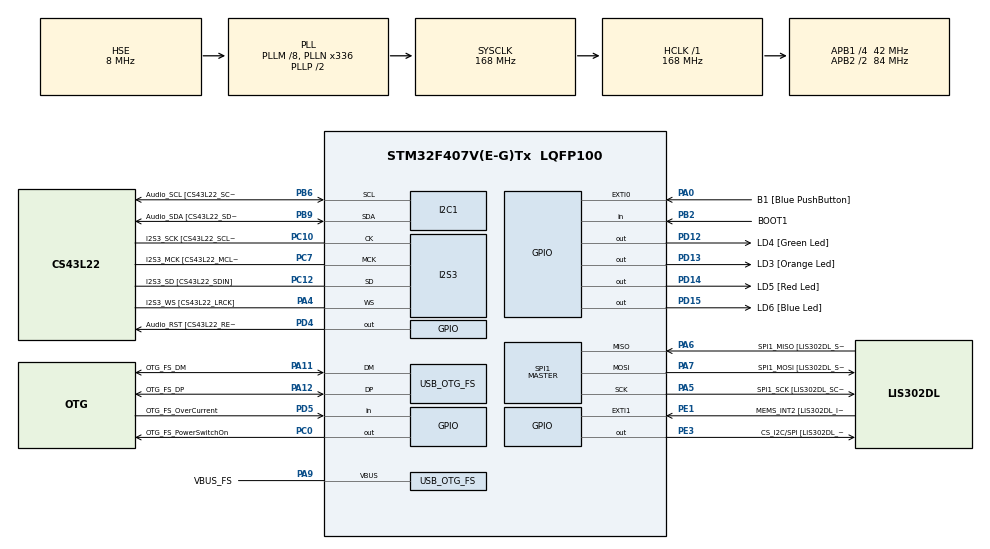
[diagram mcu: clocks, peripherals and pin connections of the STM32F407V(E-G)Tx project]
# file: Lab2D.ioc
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I2S3.AudioFreq-Half_Duplex_Master=I2S_AUDIOFREQ_96K
I2S3.ErrorAudioFreq=-2.34 %
I2S3.ErrorAudioFreq-Half_Duplex_Master=0.8 %
I2S3.FullDuplexMode=I2S_FULLDUPLEXMODE_DISABLE
I2S3.Instance=SPI$Index
I2S3.RealAudioFreq=93.75 KHz
I2S3.RealAudioFreq-Half_Duplex_Master=96.774 KHz
I2S3.VirtualMode=I2S_MODE_MASTER
Mcu.Family=STM32F4
Mcu.Name=STM32F407V(E-G)Tx
Mcu.Package=LQFP100
NVIC.OTG_FS_IRQn=true\:0\:0\:false\:false\:true\:true\:true\:true
NVIC.PriorityGroup=NVIC_PRIORITYGROUP_0
PA0-WKUP.GPIO_Label=B1 [Blue PushButton]
PA0-WKUP.GPIO_ModeDefaultEXTI=GPIO_MODE_EVT_RISING
PA0-WKUP.GPIO_PuPd=GPIO_NOPULL
PA0-WKUP.Signal=GPXTI0
PA10.GPIO_Label=OTG_FS_ID
PA10.GPIO_Mode=GPIO_MODE_AF_PP
PA10.GPIO_PuPd=GPIO_NOPULL
PA10.GPIO_Speed=GPIO_SPEED_FREQ_LOW
PA10.Signal=USB_OTG_FS_ID
PA11.GPIO_Label=OTG_FS_DM
PA11.GPIO_Mode=GPIO_MODE_AF_PP
PA11.GPIO_PuPd=GPIO_NOPULL
PA11.GPIO_Speed=GPIO_SPEED_FREQ_LOW
PA11.Mode=Host_Only
PA11.Signal=USB_OTG_FS_DM
PA12.GPIO_Label=OTG_FS_DP
PA12.GPIO_Mode=GPIO_MODE_AF_PP
PA12.GPIO_PuPd=GPIO_NOPULL
PA12.GPIO_Speed=GPIO_SPEED_FREQ_LOW
PA12.Mode=Host_Only
PA12.Signal=USB_OTG_FS_DP
PA13.GPIO_Label=SWDIO
PA13.Mode=Serial_Wire
PA13.Signal=SYS_JTMS-SWDIO
PA14.GPIO_Label=SWCLK
PA14.Mode=Serial_Wire
PA14.Signal=SYS_JTCK-SWCLK
PA4.GPIO_Label=I2S3_WS [CS43L22_LRCK]
PA4.GPIO_Mode=GPIO_MODE_AF_PP
PA4.GPIO_PuPd=GPIO_NOPULL
PA4.GPIO_Speed=GPIO_SPEED_FREQ_LOW
PA4.Mode=Half_Duplex_Master
PA4.Signal=I2S3_WS
PA5.GPIO_Label=SPI1_SCK [LIS302DL_SCL/SPC]
PA5.GPIO_Mode=GPIO_MODE_AF_PP
PA5.GPIO_PuPd=GPIO_NOPULL
PA5.GPIO_Speed=GPIO_SPEED_FREQ_LOW
PA5.Mode=Full_Duplex_Master
PA5.Signal=SPI1_SCK
PA6.GPIO_Label=SPI1_MISO [LIS302DL_SDO]
PA6.GPIO_Mode=GPIO_MODE_AF_PP
PA6.GPIO_PuPd=GPIO_NOPULL
PA6.GPIO_Speed=GPIO_SPEED_FREQ_LOW
PA6.Mode=Full_Duplex_Master
PA6.Signal=SPI1_MISO
PA7.GPIO_Label=SPI1_MOSI [LIS302DL_SDA/SDI/SDO]
PA7.GPIO_Mode=GPIO_MODE_AF_PP
PA7.GPIO_PuPd=GPIO_NOPULL
PA7.GPIO_Speed=GPIO_SPEED_FREQ_LOW
PA7.Mode=Full_Duplex_Master
PA7.Signal=SPI1_MOSI
PA9.GPIO_Label=VBUS_FS
PA9.GPIO_Mode=GPIO_MODE_INPUT
PA9.GPIO_PuPd=GPIO_NOPULL
PA9.Mode=Activate_VBUS
PA9.Signal=USB_OTG_FS_VBUS
PB10.GPIO_Label=CLK_IN [MP45DT02_CLK]
PB10.GPIO_Mode=GPIO_MODE_AF_PP
PB10.GPIO_PuPd=GPIO_NOPULL
PB10.GPIO_Speed=GPIO_SPEED_FREQ_LOW
PB10.Signal=I2S2_CK
PB2.GPIO_Label=BOOT1
PB2.GPIO_Mode=GPIO_MODE_INPUT
PB2.GPIO_PuPd=GPIO_NOPULL
PB2.Signal=GPIO_Input
PB3.GPIO_Label=SWO
PB3.Signal=SYS_JTDO-SWO
PB6.GPIO_Label=Audio_SCL [CS43L22_SCL]
PB6.GPIO_Mode=GPIO_MODE_AF_OD
PB6.GPIO_Pu=GPIO_PULLUP
PB6.GPIO_PuPd=GPIO_NOPULL
PB6.GPIO_Speed=GPIO_SPEED_FREQ_LOW
PB6.Mode=I2C
PB6.Signal=I2C1_SCL
PB9.GPIO_Label=Audio_SDA [CS43L22_SDA]
PB9.GPIO_Mode=GPIO_MODE_AF_OD
PB9.GPIO_Pu=GPIO_PULLUP
PB9.GPIO_PuPd=GPIO_NOPULL
PB9.GPIO_Speed=GPIO_SPEED_FREQ_LOW
PB9.Mode=I2C
PB9.Signal=I2C1_SDA
PC0.GPIO_Label=OTG_FS_PowerSwitchOn
PC0.GPIO_PuPd=GPIO_NOPULL
PC0.GPIO_Speed=GPIO_SPEED_FREQ_LOW
PC0.PinState=GPIO_PIN_SET
PC0.Signal=GPIO_Output
PC10.GPIO_Label=I2S3_SCK [CS43L22_SCLK]
PC10.GPIO_Mode=GPIO_MODE_AF_PP
PC10.GPIO_PuPd=GPIO_NOPULL
PC10.GPIO_Speed=GPIO_SPEED_FREQ_LOW
PC10.Mode=Half_Duplex_Master
PC10.Signal=I2S3_CK
PC12.GPIO_Label=I2S3_SD [CS43L22_SDIN]
PC12.GPIO_Mode=GPIO_MODE_AF_PP
PC12.GPIO_PuPd=GPIO_NOPULL
PC12.GPIO_Speed=GPIO_SPEED_FREQ_LOW
PC12.Mode=Half_Duplex_Master
PC12.Signal=I2S3_SD
PC14-OSC32_IN.GPIO_Label=PC14-OSC32_IN
PC14-OSC32_IN.Mode=LSE-External-Oscillator
PC14-OSC32_IN.Signal=RCC_OSC32_IN
PC15-OSC32_OUT.GPIO_Label=PC15-OSC32_OUT
PC15-OSC32_OUT.Mode=LSE-External-Oscillator
PC15-OSC32_OUT.Signal=RCC_OSC32_OUT
PC3.GPIO_Label=PDM_OUT [MP45DT02_DOUT]
PC3.GPIO_Mode=GPIO_MODE_AF_PP
PC3.GPIO_PuPd=GPIO_NOPULL
PC3.GPIO_Speed=GPIO_SPEED_FREQ_LOW
PC3.Signal=I2S2_SD
PC7.GPIO_Label=I2S3_MCK [CS43L22_MCLK]
PC7.GPIO_Mode=GPIO_MODE_AF_PP
PC7.GPIO_PuPd=GPIO_NOPULL
PC7.GPIO_Speed=GPIO_SPEED_FREQ_LOW
PC7.Mode=Master_Clock_Activated
PC7.Signal=I2S3_MCK
PD12.GPIO_Label=LD4 [Green Led]
PD12.GPIO_PuPd=GPIO_NOPULL
PD12.GPIO_Speed=GPIO_SPEED_FREQ_LOW
PD12.Signal=GPIO_Output
PD13.GPIO_Label=LD3 [Orange Led]
PD13.GPIO_PuPd=GPIO_NOPULL
PD13.GPIO_Speed=GPIO_SPEED_FREQ_LOW
PD13.Signal=GPIO_Output
PD14.GPIO_Label=LD5 [Red Led]
PD14.GPIO_PuPd=GPIO_NOPULL
PD14.GPIO_Speed=GPIO_SPEED_FREQ_LOW
PD14.Signal=GPIO_Output
PD15.GPIO_Label=LD6 [Blue Led]
PD15.GPIO_PuPd=GPIO_NOPULL
PD15.GPIO_Speed=GPIO_SPEED_FREQ_LOW
PD15.Signal=GPIO_Output
PD4.GPIO_Label=Audio_RST [CS43L22_RESET]
PD4.GPIO_PuPd=GPIO_NOPULL
PD4.GPIO_Speed=GPIO_SPEED_FREQ_LOW
PD4.Signal=GPIO_Output
PD5.GPIO_Label=OTG_FS_OverCurrent
PD5.GPIO_Mode=GPIO_MODE_INPUT
PD5.GPIO_PuPd=GPIO_NOPULL
PD5.Signal=GPIO_Input
PE1.GPIO_Label=MEMS_INT2 [LIS302DL_INT2]
PE1.GPIO_ModeDefaultEXTI=GPIO_MODE_EVT_RISING
PE1.GPIO_PuPd=GPIO_NOPULL
PE1.Signal=GPXTI1
PE3.GPIO_Label=CS_I2C/SPI [LIS302DL_CS_I2C/SPI]
PE3.GPIO_PuPd=GPIO_NOPULL
PE3.GPIO_Speed=GPIO_SPEED_FREQ_LOW
PE3.Signal=GPIO_Output
PH0-OSC_IN.GPIO_Label=PH0-OSC_IN
PH0-OSC_IN.Mode=HSE-External-Oscillator
PH0-OSC_IN.Signal=RCC_OSC_IN
PH1-OSC_OUT.GPIO_Label=PH1-OSC_OUT
PH1-OSC_OUT.Mode=HSE-External-Oscillator
PH1-OSC_OUT.Signal=RCC_OSC_OUT
ProjectManager.HeapSize=0x200
ProjectManager.StackSize=0x400
ProjectManager.TargetToolchain=STM32CubeIDE
RCC.48MHZClocksFreq_Value=48000000
RCC.AHBFreq_Value=168000000
RCC.APB1CLKDivider=RCC_HCLK_DIV4
RCC.APB1Freq_Value=42000000
RCC.APB1TimFreq_Value=84000000
RCC.APB2CLKDivider=RCC_HCLK_DIV2
RCC.APB2Freq_Value=84000000
RCC.APB2TimFreq_Value=168000000
RCC.CortexFreq_Value=168000000
RCC.HCLKFreq_Value=168000000
RCC.HSE_VALUE=8000000
RCC.HSI_VALUE=16000000
RCC.PLLM=8
RCC.PLLN=336
RCC.PLLQ=7
RCC.SYSCLKFreq_VALUE=168000000
RCC.SYSCLKSource=RCC_SYSCLKSOURCE_PLLCLK
RCC.VCOOutputFreq_Value=336000000
SPI1.BaudRatePrescaler-Full_Duplex_Master=SPI_BAUDRATEPRESCALER_2
SPI1.CalculateBaudRate-Full_Duplex_Master=42.0 MBits/s
SPI1.Direction=SPI_DIRECTION_2LINES
SPI1.Mode=SPI_MODE_MASTER
SPI1.Mode-Full_Duplex_Master=SPI_MODE_MASTER
SPI1.VirtualType=VM_MASTER
USB_HOST.BSP.number=1
USB_HOST.USBH_HandleTypeDef-CDC_FS=hUsbHostFS
USB_HOST.VirtualModeFS=Cdc
USB_HOST0.BSP.STBoard=false
USB_HOST0.BSP.api=Unknown
USB_HOST0.BSP.instance=PC0
USB_HOST0.BSP.ip=GPIO
USB_HOST0.BSP.mode=Output
USB_HOST0.BSP.name=Drive_VBUS_FS
USB_HOST0.BSP.solution=PC0
USB_OTG_FS.VirtualMode=Host_Only
USB_OTG_FS.phy_itface=HCD_PHY_EMBEDDED
VP_USB_HOST_VS_USB_HOST_CDC_FS.Mode=CDC_FS
board=STM32F407G-DISC1

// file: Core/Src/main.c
/* USER CODE BEGIN Header */
/**
  ******************************************************************************
  * @file           : main.c
  * @brief          : Main program body
  ******************************************************************************
  * @attention
  *
  * Copyright (c) 2026 STMicroelectronics.
  * All rights reserved.
  *
  * This software is licensed under terms that can be found in the LICENSE file
  * in the root directory of this software component.
  * If no LICENSE file comes with this software, it is provided AS-IS.
  *
  ******************************************************************************
  */
/* USER CODE END Header */
#include "main.h"
#include "usb_host.h"

I2C_HandleTypeDef hi2c1;

I2S_HandleTypeDef hi2s3;

SPI_HandleTypeDef hspi1;

void SystemClock_Config(void);
static void MX_GPIO_Init(void);
static void MX_I2C1_Init(void);
static void MX_I2S3_Init(void);
static void MX_SPI1_Init(void);
void MX_USB_HOST_Process(void);

int main(void)
{

  /* MCU Configuration--------------------------------------------------------*/

  /* Reset of all peripherals, Initializes the Flash interface and the Systick. */
  HAL_Init();

  /* Configure the system clock */
  SystemClock_Config();

  /* Initialize all configured peripherals */
  MX_GPIO_Init();
  MX_I2C1_Init();
  MX_I2S3_Init();
  MX_SPI1_Init();
  MX_USB_HOST_Init();

  /* Infinite loop */
  while (1)
  {
    MX_USB_HOST_Process();

    /* USER CODE BEGIN 3 */
    // Вмикаємо всі алгоритми по черзі. Кожен працює рівно 3 секунди.

    // Алгоритм 1: Всі світлодіоди блимають разом (3 секунди)
    // (500мс увімкнено + 500мс вимкнено = 1 сек. Повторюємо 3 рази)
    for(int i = 0; i < 3; i++) {
        HAL_GPIO_WritePin(GPIOD, GPIO_PIN_12 | GPIO_PIN_13 | GPIO_PIN_14 | GPIO_PIN_15, GPIO_PIN_SET);
        HAL_Delay(500);
        HAL_GPIO_WritePin(GPIOD, GPIO_PIN_12 | GPIO_PIN_13 | GPIO_PIN_14 | GPIO_PIN_15, GPIO_PIN_RESET);
        HAL_Delay(500);
    }

    // Алгоритм 2: "Вогник", що біжить по колу (3 секунди)
    // (4 кроки по 250мс = 1 сек. Повторюємо 3 рази)
    for(int i = 0; i < 3; i++) {
        HAL_GPIO_WritePin(GPIOD, GPIO_PIN_12, GPIO_PIN_SET);
        HAL_GPIO_WritePin(GPIOD, GPIO_PIN_15, GPIO_PIN_RESET);
        HAL_Delay(250);

        HAL_GPIO_WritePin(GPIOD, GPIO_PIN_13, GPIO_PIN_SET);
        HAL_GPIO_WritePin(GPIOD, GPIO_PIN_12, GPIO_PIN_RESET);
        HAL_Delay(250);

        HAL_GPIO_WritePin(GPIOD, GPIO_PIN_14, GPIO_PIN_SET);
        HAL_GPIO_WritePin(GPIOD, GPIO_PIN_13, GPIO_PIN_RESET);
        HAL_Delay(250);

        HAL_GPIO_WritePin(GPIOD, GPIO_PIN_15, GPIO_PIN_SET);
        HAL_GPIO_WritePin(GPIOD, GPIO_PIN_14, GPIO_PIN_RESET);
        HAL_Delay(250);
    }

    // Алгоритм 3: Поліцейська мигалка (навхрест, 3 секунди)
    // (250мс одна пара + 250мс інша пара = 500мс. Повторюємо 6 разів)
    for(int i = 0; i < 6; i++) {
        HAL_GPIO_WritePin(GPIOD, GPIO_PIN_12 | GPIO_PIN_14, GPIO_PIN_SET);
        HAL_GPIO_WritePin(GPIOD, GPIO_PIN_13 | GPIO_PIN_15, GPIO_PIN_RESET);
        HAL_Delay(250);

        HAL_GPIO_WritePin(GPIOD, GPIO_PIN_13 | GPIO_PIN_15, GPIO_PIN_SET);
        HAL_GPIO_WritePin(GPIOD, GPIO_PIN_12 | GPIO_PIN_14, GPIO_PIN_RESET);
        HAL_Delay(250);
    }

    // Алгоритм 4: Поступове заповнення шкали (3 секунди)
    // (5 кроків по 200мс = 1 сек. Повторюємо 3 рази)
    for(int i = 0; i < 3; i++) {
        HAL_GPIO_WritePin(GPIOD, GPIO_PIN_12 | GPIO_PIN_13 | GPIO_PIN_14 | GPIO_PIN_15, GPIO_PIN_RESET);
        HAL_Delay(200);
        HAL_GPIO_WritePin(GPIOD, GPIO_PIN_12, GPIO_PIN_SET);
        HAL_Delay(200);
        HAL_GPIO_WritePin(GPIOD, GPIO_PIN_13, GPIO_PIN_SET);
        HAL_Delay(200);
        HAL_GPIO_WritePin(GPIOD, GPIO_PIN_14, GPIO_PIN_SET);
        HAL_Delay(200);
        HAL_GPIO_WritePin(GPIOD, GPIO_PIN_15, GPIO_PIN_SET);
        HAL_Delay(200);
    }
  }
  /* USER CODE END 3 */
}

void SystemClock_Config(void)
{
  RCC_OscInitTypeDef RCC_OscInitStruct = {0};
  RCC_ClkInitTypeDef RCC_ClkInitStruct = {0};

  /** Configure the main internal regulator output voltage
  */
  __HAL_RCC_PWR_CLK_ENABLE();
  __HAL_PWR_VOLTAGESCALING_CONFIG(PWR_REGULATOR_VOLTAGE_SCALE1);

  /** Initializes the RCC Oscillators according to the specified parameters
  * in the RCC_OscInitTypeDef structure.
  */
  RCC_OscInitStruct.OscillatorType = RCC_OSCILLATORTYPE_HSE;
  RCC_OscInitStruct.HSEState = RCC_HSE_ON;
  RCC_OscInitStruct.PLL.PLLState = RCC_PLL_ON;
  RCC_OscInitStruct.PLL.PLLSource = RCC_PLLSOURCE_HSE;
  RCC_OscInitStruct.PLL.PLLM = 8;
  RCC_OscInitStruct.PLL.PLLN = 336;
  RCC_OscInitStruct.PLL.PLLP = RCC_PLLP_DIV2;
  RCC_OscInitStruct.PLL.PLLQ = 7;
  if (HAL_RCC_OscConfig(&RCC_OscInitStruct) != HAL_OK)
  {
    Error_Handler();
  }

  /** Initializes the CPU, AHB and APB buses clocks
  */
  RCC_ClkInitStruct.ClockType = RCC_CLOCKTYPE_HCLK|RCC_CLOCKTYPE_SYSCLK
                              |RCC_CLOCKTYPE_PCLK1|RCC_CLOCKTYPE_PCLK2;
  RCC_ClkInitStruct.SYSCLKSource = RCC_SYSCLKSOURCE_PLLCLK;
  RCC_ClkInitStruct.AHBCLKDivider = RCC_SYSCLK_DIV1;
  RCC_ClkInitStruct.APB1CLKDivider = RCC_HCLK_DIV4;
  RCC_ClkInitStruct.APB2CLKDivider = RCC_HCLK_DIV2;

  if (HAL_RCC_ClockConfig(&RCC_ClkInitStruct, FLASH_LATENCY_5) != HAL_OK)
  {
    Error_Handler();
  }
}

static void MX_I2C1_Init(void)
{

  hi2c1.Instance = I2C1;
  hi2c1.Init.ClockSpeed = 100000;
  hi2c1.Init.DutyCycle = I2C_DUTYCYCLE_2;
  hi2c1.Init.OwnAddress1 = 0;
  hi2c1.Init.AddressingMode = I2C_ADDRESSINGMODE_7BIT;
  hi2c1.Init.DualAddressMode = I2C_DUALADDRESS_DISABLE;
  hi2c1.Init.OwnAddress2 = 0;
  hi2c1.Init.GeneralCallMode = I2C_GENERALCALL_DISABLE;
  hi2c1.Init.NoStretchMode = I2C_NOSTRETCH_DISABLE;
  if (HAL_I2C_Init(&hi2c1) != HAL_OK)
  {
    Error_Handler();
  }

}

static void MX_I2S3_Init(void)
{

  hi2s3.Instance = SPI3;
  hi2s3.Init.Mode = I2S_MODE_MASTER_TX;
  hi2s3.Init.Standard = I2S_STANDARD_PHILIPS;
  hi2s3.Init.DataFormat = I2S_DATAFORMAT_16B;
  hi2s3.Init.MCLKOutput = I2S_MCLKOUTPUT_ENABLE;
  hi2s3.Init.AudioFreq = I2S_AUDIOFREQ_96K;
  hi2s3.Init.CPOL = I2S_CPOL_LOW;
  hi2s3.Init.ClockSource = I2S_CLOCK_PLL;
  hi2s3.Init.FullDuplexMode = I2S_FULLDUPLEXMODE_DISABLE;
  if (HAL_I2S_Init(&hi2s3) != HAL_OK)
  {
    Error_Handler();
  }

}

static void MX_SPI1_Init(void)
{

  /* SPI1 parameter configuration*/
  hspi1.Instance = SPI1;
  hspi1.Init.Mode = SPI_MODE_MASTER;
  hspi1.Init.Direction = SPI_DIRECTION_2LINES;
  hspi1.Init.DataSize = SPI_DATASIZE_8BIT;
  hspi1.Init.CLKPolarity = SPI_POLARITY_LOW;
  hspi1.Init.CLKPhase = SPI_PHASE_1EDGE;
  hspi1.Init.NSS = SPI_NSS_SOFT;
  hspi1.Init.BaudRatePrescaler = SPI_BAUDRATEPRESCALER_2;
  hspi1.Init.FirstBit = SPI_FIRSTBIT_MSB;
  hspi1.Init.TIMode = SPI_TIMODE_DISABLE;
  hspi1.Init.CRCCalculation = SPI_CRCCALCULATION_DISABLE;
  hspi1.Init.CRCPolynomial = 10;
  if (HAL_SPI_Init(&hspi1) != HAL_OK)
  {
    Error_Handler();
  }

}

static void MX_GPIO_Init(void)
{
  GPIO_InitTypeDef GPIO_InitStruct = {0};

  /* GPIO Ports Clock Enable */
  __HAL_RCC_GPIOE_CLK_ENABLE();
  __HAL_RCC_GPIOC_CLK_ENABLE();
  __HAL_RCC_GPIOH_CLK_ENABLE();
  __HAL_RCC_GPIOA_CLK_ENABLE();
  __HAL_RCC_GPIOB_CLK_ENABLE();
  __HAL_RCC_GPIOD_CLK_ENABLE();

  /*Configure GPIO pin Output Level */
  HAL_GPIO_WritePin(CS_I2C_SPI_GPIO_Port, CS_I2C_SPI_Pin, GPIO_PIN_RESET);

  /*Configure GPIO pin Output Level */
  HAL_GPIO_WritePin(OTG_FS_PowerSwitchOn_GPIO_Port, OTG_FS_PowerSwitchOn_Pin, GPIO_PIN_SET);

  /*Configure GPIO pin Output Level */
  HAL_GPIO_WritePin(GPIOD, LD4_Pin|LD3_Pin|LD5_Pin|LD6_Pin
                          |Audio_RST_Pin, GPIO_PIN_RESET);

  /*Configure GPIO pin : CS_I2C_SPI_Pin */
  GPIO_InitStruct.Pin = CS_I2C_SPI_Pin;
  GPIO_InitStruct.Mode = GPIO_MODE_OUTPUT_PP;
  GPIO_InitStruct.Pull = GPIO_NOPULL;
  GPIO_InitStruct.Speed = GPIO_SPEED_FREQ_LOW;
  HAL_GPIO_Init(CS_I2C_SPI_GPIO_Port, &GPIO_InitStruct);

  /*Configure GPIO pin : OTG_FS_PowerSwitchOn_Pin */
  GPIO_InitStruct.Pin = OTG_FS_PowerSwitchOn_Pin;
  GPIO_InitStruct.Mode = GPIO_MODE_OUTPUT_PP;
  GPIO_InitStruct.Pull = GPIO_NOPULL;
  GPIO_InitStruct.Speed = GPIO_SPEED_FREQ_LOW;
  HAL_GPIO_Init(OTG_FS_PowerSwitchOn_GPIO_Port, &GPIO_InitStruct);

  /*Configure GPIO pin : PDM_OUT_Pin */
  GPIO_InitStruct.Pin = PDM_OUT_Pin;
  GPIO_InitStruct.Mode = GPIO_MODE_AF_PP;
  GPIO_InitStruct.Pull = GPIO_NOPULL;
  GPIO_InitStruct.Speed = GPIO_SPEED_FREQ_LOW;
  GPIO_InitStruct.Alternate = GPIO_AF5_SPI2;
  HAL_GPIO_Init(PDM_OUT_GPIO_Port, &GPIO_InitStruct);

  /*Configure GPIO pin : B1_Pin */
  GPIO_InitStruct.Pin = B1_Pin;
  GPIO_InitStruct.Mode = GPIO_MODE_EVT_RISING;
  GPIO_InitStruct.Pull = GPIO_NOPULL;
  HAL_GPIO_Init(B1_GPIO_Port, &GPIO_InitStruct);

  /*Configure GPIO pin : BOOT1_Pin */
  GPIO_InitStruct.Pin = BOOT1_Pin;
  GPIO_InitStruct.Mode = GPIO_MODE_INPUT;
  GPIO_InitStruct.Pull = GPIO_NOPULL;
  HAL_GPIO_Init(BOOT1_GPIO_Port, &GPIO_InitStruct);

  /*Configure GPIO pin : CLK_IN_Pin */
  GPIO_InitStruct.Pin = CLK_IN_Pin;
  GPIO_InitStruct.Mode = GPIO_MODE_AF_PP;
  GPIO_InitStruct.Pull = GPIO_NOPULL;
  GPIO_InitStruct.Speed = GPIO_SPEED_FREQ_LOW;
  GPIO_InitStruct.Alternate = GPIO_AF5_SPI2;
  HAL_GPIO_Init(CLK_IN_GPIO_Port, &GPIO_InitStruct);

  /*Configure GPIO pins : LD4_Pin LD3_Pin LD5_Pin LD6_Pin
                           Audio_RST_Pin */
  GPIO_InitStruct.Pin = LD4_Pin|LD3_Pin|LD5_Pin|LD6_Pin
                          |Audio_RST_Pin;
  GPIO_InitStruct.Mode = GPIO_MODE_OUTPUT_PP;
  GPIO_InitStruct.Pull = GPIO_NOPULL;
  GPIO_InitStruct.Speed = GPIO_SPEED_FREQ_LOW;
  HAL_GPIO_Init(GPIOD, &GPIO_InitStruct);

  /*Configure GPIO pin : OTG_FS_OverCurrent_Pin */
  GPIO_InitStruct.Pin = OTG_FS_OverCurrent_Pin;
  GPIO_InitStruct.Mode = GPIO_MODE_INPUT;
  GPIO_InitStruct.Pull = GPIO_NOPULL;
  HAL_GPIO_Init(OTG_FS_OverCurrent_GPIO_Port, &GPIO_InitStruct);

  /*Configure GPIO pin : MEMS_INT2_Pin */
  GPIO_InitStruct.Pin = MEMS_INT2_Pin;
  GPIO_InitStruct.Mode = GPIO_MODE_EVT_RISING;
  GPIO_InitStruct.Pull = GPIO_NOPULL;
  HAL_GPIO_Init(MEMS_INT2_GPIO_Port, &GPIO_InitStruct);

}

void Error_Handler(void)
{
  __disable_irq();
  while (1)
  {
  }
}
